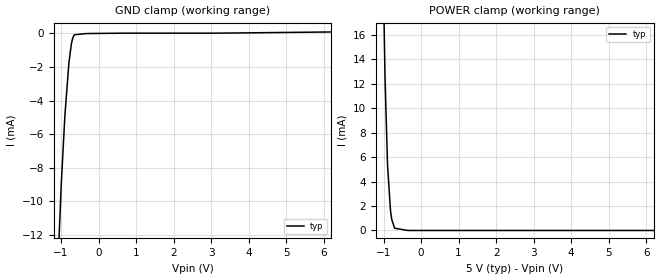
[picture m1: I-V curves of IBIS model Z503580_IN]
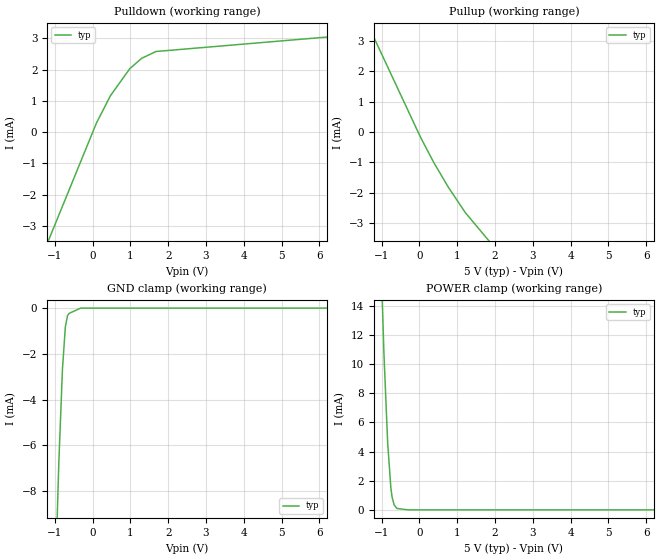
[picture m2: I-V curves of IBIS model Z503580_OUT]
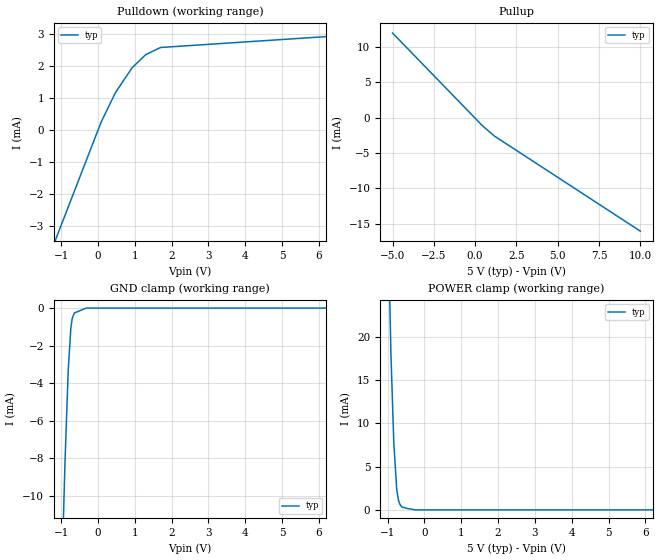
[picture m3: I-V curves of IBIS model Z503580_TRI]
| YOU ARE ONLY AUTHORIZED TO USE THIS SOFTWARE
| ACCORDING TO LICENSOR'S LICENSE RESTRICTIONS.
[IBIS Ver] 3.1
[File Name] mc14094bcl.ibs
[File Rev] 2.0
[Source] Measured and created by ICX Technology
[Date] Friday 7/14/00 9:07:53 AM
[Copyright]
| (C) COPYRIGHT 1993-2000
| MENTOR GRAPHICS CORPORATION
| ICX STANDARD LIBRARY, ICX PROJECT MODELING,
| ICX CUSTOM MODELING, ICX VENDOR MODEL
| ALL RIGHTS RESERVED.
| THE FOLLOWING ARE TRADEMARKS OR SERVICE MARKS OF
| MENTOR GRAPHICS CORPORATION:ICX (R), ICX STANDARD
| LIBRARY(R), ICX PROJECT MODELING(R), ICX CUSTOM
| MODELING(R), qualityIBIS(TM), MODELVIEWER(TM),
| AND MODELEDITOR(TM)
| ALL COPIES OF SOFTWARE, INCLUDING BUT NOT LIMITED TO
| ANY MODIFICATIONS, ENHANCEMENTS OR DERIVATIVE WORKS,
| MUST CONTAIN ALL MENTOR GRAPHICS CORPORATION'S
| NOTICES AND LEGENDS, INCLUDING THOSE EMBEDDED IN
| SOFTWARE AND THOSE AFFIXED TO SOFTWARE MEDIUM
| AND CONTAINER, AS RECEIVED FROM MENTOR GRAPHICS
| CORPORATION.
|  ZAP Model Builder 2.7
[Component] MC14094BCL
[Manufacturer] OnSemiconductor
[Package]
| variable   typ   min   max
R_pkg  .212ohms NA NA
L_pkg  4.758nH NA NA
C_pkg  1.944pF NA NA
[Pin] signal_name  model_name  R_pin  L_pin C_pin
1 STR Z503580_IN .224 7.258n 2.683p
2 D Z503580_IN .216 5.258n 2.19p
3 CLK Z503580_IN .208 3.758n 1.697p
4 Q1 Z503580_TRI .2 2.758n 1.204p
5 Q2 Z503580_TRI .2 2.758n 1.204p
6 Q3 Z503580_TRI .208 3.758n 1.697p
7 Q4 Z503580_TRI .216 5.258n 2.19p
8 VSS POWER .224 7.258n 2.683p
9 QS0 Z503580_OUT .224 7.258n 2.683p
10 QS1 Z503580_OUT .216 5.258n 2.19p
11 Q8 Z503580_TRI .208 3.758n 1.697p
12 Q7 Z503580_TRI .2 2.758n 1.204p
13 Q6 Z503580_TRI .2 2.758n 1.204p
14 Q5 Z503580_TRI .208 3.758n 1.697p
15 OE Z503580_IN .216 5.258n 2.19p
16 VDD POWER .224 7.258n 2.683p
| Models and submodels in the file (3): Z503580_IN (Input), Z503580_OUT (Output), Z503580_TRI (3-state)
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| (C) COPYRIGHT 1993-2000
| MENTOR GRAPHICS CORPORATION
| ICX STANDARD LIBRARY, ICX PROJECT MODELING,
| ICX CUSTOM MODELING, ICX VENDOR MODEL
| ALL RIGHTS RESERVED.
| THE FOLLOWING ARE TRADEMARKS OR SERVICE MARKS OF
| MENTOR GRAPHICS CORPORATION:ICX (R), ICX STANDARD
| LIBRARY(R), ICX PROJECT MODELING(R), ICX CUSTOM
| MODELING(R), qualityIBIS(TM), MODELVIEWER(TM),
| AND MODELEDITOR(TM)
| ALL COPIES OF SOFTWARE, INCLUDING BUT NOT LIMITED TO
| ANY MODIFICATIONS, ENHANCEMENTS OR DERIVATIVE WORKS,
| MUST CONTAIN ALL MENTOR GRAPHICS CORPORATION'S
| NOTICES AND LEGENDS, INCLUDING THOSE EMBEDDED IN
| SOFTWARE AND THOSE AFFIXED TO SOFTWARE MEDIUM
| AND CONTAINER, AS RECEIVED FROM MENTOR GRAPHICS
| CORPORATION.
| Model Application Version 1.89 2/18/99.
[Model] Z503580_IN
Model_type Input
Vinl = 1.500V
Vinh = 3.500V
C_comp 4.000pF NA NA
| variable typ   min   max
[Voltage Range] 5.000V NA NA
[GND Clamp Reference] 0.000V NA NA
[POWER Clamp Reference] 5.000V NA NA
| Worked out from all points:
|   GND clamp passes 1 mA (typ) near -0.75 V on its own axis
|   POWER clamp passes 1 mA (typ) near -0.79 V on its own axis
[GND Clamp]
-5V       -227.1mA   NA         NA
-994.9mV  -9.026mA   NA         NA
-898.4mV  -4.93mA    NA         NA
-790.6mV  -1.751mA   NA         NA
-722.7mV  -596.7uA   NA         NA
-683.6mV  -249.5uA   NA         NA
-644.6mV  -81.96uA   NA         NA
-322.3mV  -9.771uA   NA         NA
724.8mV   13.79uA    NA         NA
3.187V    13.79uA    NA         NA
10V       173.2uA    NA         NA
[POWER Clamp]
-5V       734.4mA    NA         NA
-961mV    12.59mA    NA         NA
-893mV    5.338mA    NA         NA
-814mV    1.612mA    NA         NA
-781mV    906.4uA    NA         NA
-705mV    186.8uA    NA         NA
-352.5mV  0A         NA         NA
10V       0A         NA         NA
| (C) COPYRIGHT 1993-2000
| MENTOR GRAPHICS CORPORATION
| ICX STANDARD LIBRARY, ICX PROJECT MODELING,
| ICX CUSTOM MODELING, ICX VENDOR MODEL
| ALL RIGHTS RESERVED.
| THE FOLLOWING ARE TRADEMARKS OR SERVICE MARKS OF
| MENTOR GRAPHICS CORPORATION:ICX (R), ICX STANDARD
| LIBRARY(R), ICX PROJECT MODELING(R), ICX CUSTOM
| MODELING(R), qualityIBIS(TM), MODELVIEWER(TM),
| AND MODELEDITOR(TM)
| ALL COPIES OF SOFTWARE, INCLUDING BUT NOT LIMITED TO
| ANY MODIFICATIONS, ENHANCEMENTS OR DERIVATIVE WORKS,
| MUST CONTAIN ALL MENTOR GRAPHICS CORPORATION'S
| NOTICES AND LEGENDS, INCLUDING THOSE EMBEDDED IN
| SOFTWARE AND THOSE AFFIXED TO SOFTWARE MEDIUM
| AND CONTAINER, AS RECEIVED FROM MENTOR GRAPHICS
| CORPORATION.
| Model Application Version 1.89 2/18/99.
[Model] Z503580_OUT
Model_type Output
Vref=0.000V
Rref=500.0Mohms
Cref=50.00pF
Vmeas=2.500V
C_comp 8.000pF NA NA
| variable typ   min   max
[Voltage Range] 5.000V NA NA
[POWER Clamp Reference] 5.000V NA NA
[Pullup Reference] 5.000V NA NA
[Pulldown Reference] 0.000V NA NA
[GND Clamp Reference] 0.000V NA NA
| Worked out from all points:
|   slope of the pulldown table from 0 to 0.75 V, typ, clamps not added: 456 ohm
|   slope of the pullup table from 0 to 0.75 V, typ, clamps not added: 443 ohm
|   GND clamp passes 1 mA (typ) near -0.73 V on its own axis
|   POWER clamp passes 1 mA (typ) near -0.73 V on its own axis
[GND Clamp]
-5V       -237.8mA   NA         NA
-893.1mV  -6.787mA   NA         NA
-796mV    -2.654mA   NA         NA
-719mV    -808.9uA   NA         NA
-663.5mV  -341.2uA   NA         NA
-625mV    -236.2uA   NA         NA
-312.5mV  0A         NA         NA
10V       0A         NA         NA
[Pulldown]
-5V       -14.82mA   NA         NA
103.4mV   291.3uA    NA         NA
474.5mV   1.166mA    NA         NA
986.4mV   2.03mA     NA         NA
1.299V    2.36mA     NA         NA
1.679V    2.578mA    NA         NA
10V       3.428mA    NA         NA
[Pullup]
-5V       13.26mA    NA         NA
24mV      -157.8uA   NA         NA
376mV     -995.2uA   NA         NA
767mV     -1.824mA   NA         NA
1.216V    -2.66mA    NA         NA
10V       -15.77mA   NA         NA
[POWER Clamp]
-5V       349.1mA    NA         NA
-938mV    10.65mA    NA         NA
-840mV    4.584mA    NA         NA
-756mV    1.516mA    NA         NA
-722mV    866.9uA    NA         NA
-669mV    336.5uA    NA         NA
-596mV    96.54uA    NA         NA
-298mV    0A         NA         NA
10V       0A         NA         NA
[Ramp]
| variable typ min max
dV/dt_r 2.568/23.59n NA NA
dV/dt_f 2.568/17.91n NA NA
R_load = 2.500kOhms
| (C) COPYRIGHT 1993-2000
| MENTOR GRAPHICS CORPORATION
| ICX STANDARD LIBRARY, ICX PROJECT MODELING,
| ICX CUSTOM MODELING, ICX VENDOR MODEL
| ALL RIGHTS RESERVED.
| THE FOLLOWING ARE TRADEMARKS OR SERVICE MARKS OF
| MENTOR GRAPHICS CORPORATION:ICX (R), ICX STANDARD
| LIBRARY(R), ICX PROJECT MODELING(R), ICX CUSTOM
| MODELING(R), qualityIBIS(TM), MODELVIEWER(TM),
| AND MODELEDITOR(TM)
| ALL COPIES OF SOFTWARE, INCLUDING BUT NOT LIMITED TO
| ANY MODIFICATIONS, ENHANCEMENTS OR DERIVATIVE WORKS,
| MUST CONTAIN ALL MENTOR GRAPHICS CORPORATION'S
| NOTICES AND LEGENDS, INCLUDING THOSE EMBEDDED IN
| SOFTWARE AND THOSE AFFIXED TO SOFTWARE MEDIUM
| AND CONTAINER, AS RECEIVED FROM MENTOR GRAPHICS
| CORPORATION.
| Model Application Version 1.89 2/18/99.
[Model] Z503580_TRI
Model_type 3-state
Vref=0.000V
Rref=500.0Mohms
Cref=50.00pF
Vmeas=2.500V
C_comp 8.000pF NA NA
| variable typ   min   max
[Voltage Range] 5.000V NA NA
[POWER Clamp Reference] 5.000V NA NA
[Pullup Reference] 5.000V NA NA
[Pulldown Reference] 0.000V NA NA
[GND Clamp Reference] 0.000V NA NA
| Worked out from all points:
|   slope of the pulldown table from 0 to 0.75 V, typ, clamps not added: 454 ohm
|   slope of the pullup table from 0 to 0.75 V, typ, clamps not added: 444 ohm
|   GND clamp passes 1 mA (typ) near -0.73 V on its own axis
|   POWER clamp passes 1 mA (typ) near -0.69 V on its own axis
[GND Clamp]
-5V       -300.4mA   NA         NA
-897.9mV  -8.266mA   NA         NA
-809.2mV  -3.32mA    NA         NA
-737.3mV  -1.053mA   NA         NA
-703.1mV  -578.1uA   NA         NA
-644.4mV  -262.9uA   NA         NA
-322.2mV  0A         NA         NA
10V       0A         NA         NA
[Pulldown]
-5V       -14.9mA    NA         NA
84.46mV   241.5uA    NA         NA
474.5mV   1.166mA    NA         NA
923.2mV   1.94mA     NA         NA
1.299V    2.356mA    NA         NA
1.698V    2.577mA    NA         NA
10V       3.206mA    NA         NA
[Pullup]
-5V       11.95mA    NA         NA
454mV     -1.187mA   NA         NA
1.157V    -2.6mA     NA         NA
10V       -16.06mA   NA         NA
[POWER Clamp]
-5V       809.6mA    NA         NA
-907mV    17.91mA    NA         NA
-830mV    7.74mA     NA         NA
-751mV    2.369mA    NA         NA
-703mV    1.112mA    NA         NA
-668mV    665.5uA    NA         NA
-615mV    338.1uA    NA         NA
-498mV    185uA      NA         NA
-249mV    0A         NA         NA
10V       0A         NA         NA
[Ramp]
| variable typ min max
dV/dt_r 2.569/24.73n NA NA
dV/dt_f 2.569/12.62n NA NA
R_load = 2.500kOhms
